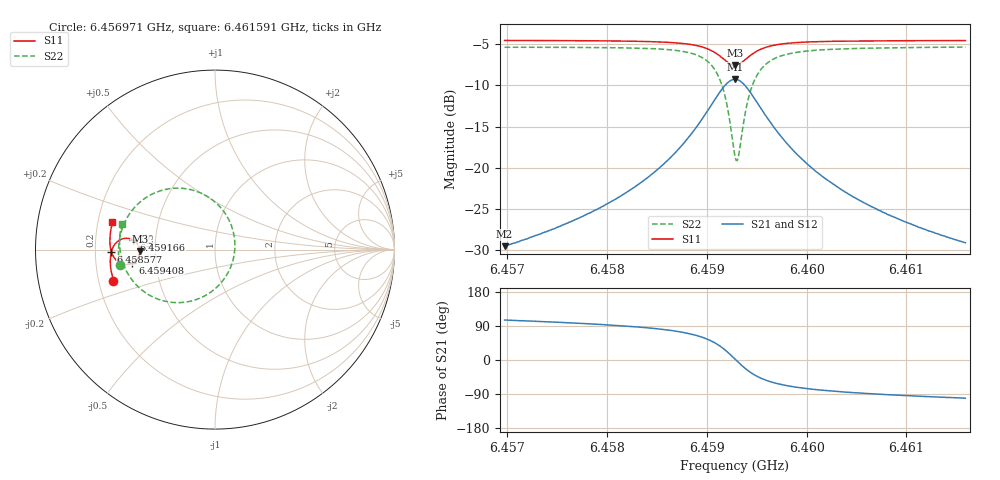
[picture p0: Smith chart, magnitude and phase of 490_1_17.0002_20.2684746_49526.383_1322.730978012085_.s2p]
#  HZ  S  RI  R  50.00
! Rohde & Schwarz Vector Network Analyzer
! Rohde-Schwarz,ZNB20-2Port,1311601062101988,3.16
! Created: UTC 3/20/2024, 11:14:02 PM
! freq[Hz]  re:S11  im:S11  re:S21  im:S21  re:S12  im:S12  re:S22  im:S22
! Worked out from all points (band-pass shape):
!   401 points, 6.456971 GHz to 6.461591 GHz, reference 50 ohm
!   highest |S21| = -9.26 dB at 6.459281 GHz (marker M1); lowest = -29.5 dB at 6.456971 GHz (marker M2)
!   |S21| within 3 dB of the highest: 6.45905 GHz to 6.459512 GHz (461.7 kHz wide, 0.00715 % of centre)
!   lowest |S11| = -7.6 dB at 6.459281 GHz (marker M3), VSWR 2.44, Z = 20.5 - j0.496 ohm
!   |S11| at or under -10 dB: nowhere
!   |S22| runs from -19.1 to -5.4 dB; largest |S21 - S12| = 0.014
!   S11 on the Smith chart (normalised r, x): 6.456971 GHz: 0.26, -0.14; 6.458577 GHz: 0.27, -0.01; 6.459166 GHz: 0.37, +0.05; 6.459408 GHz: 0.37, -0.07; 6.461591 GHz: 0.26, +0.12
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6.4569712e9  -0.5665 -0.1726  -0.00884 0.0322  -0.00724 0.0323  -0.5316 -0.0853
6.457745e9  -0.5807 -0.1051  -0.00562 0.0501  -0.00308 0.0495  -0.5372 0.00479
6.4581724e9  -0.5837 -0.0623  0.000266 0.0696  0.00357 0.0682  -0.5292 0.0722
6.4585188e9  -0.5799 -0.021  0.0141 0.0984  0.0181 0.0955  -0.5041 0.15
6.4585766e9  -0.578 -0.0131  0.0184 0.1053  0.0225 0.1021  -0.4959 0.1665
6.4587845e9  -0.5651 0.019  0.0457 0.1375  0.0498 0.1326  -0.4445 0.2391
6.4589346e9  -0.5426 0.0453  0.091 0.1679  0.094 0.1612  -0.3615 0.3034
6.4590732e9  -0.499 0.0629  0.1775 0.1844  0.1785 0.1771  -0.203 0.3424
6.4591656e9  -0.4546 0.0527  0.2671 0.1536  0.2674 0.1476  -0.0369 0.2926
6.4592118e9  -0.4335 0.034  0.3108 0.1108  0.312 0.1056  0.0459 0.2166
6.4592811e9  -0.4187 -0.00999  0.3439 0.0143  0.3477 0.00738  0.1108 0.0375
6.4592926e9  -0.4191 -0.0179  0.3438 -0.00335  0.3477 -0.011  0.1106 0.00377
6.4593157e9  -0.4227 -0.0335  0.3382 -0.038  0.3422 -0.0471  0.0997 -0.0619
6.4593619e9  -0.4383 -0.0595  0.3098 -0.0978  0.3119 -0.1096  0.0421 -0.1748
6.4594081e9  -0.4601 -0.0757  0.2677 -0.1387  0.2671 -0.1519  -0.0426 -0.2495
6.4595005e9  -0.5034 -0.0824  0.1834 -0.1698  0.1773 -0.1813  -0.211 -0.2955
6.4596506e9  -0.5471 -0.0618  0.0958 -0.1561  0.0874 -0.1621  -0.3781 -0.2462
6.4598123e9  -0.5684 -0.0342  0.0513 -0.1282  0.0437 -0.131  -0.4581 -0.1744
6.4600549e9  -0.5811 0.00141  0.0222 -0.0968  0.0163 -0.0973  -0.5062 -0.0921
6.4604013e9  -0.5855 0.0425  0.00632 -0.07  0.00217 -0.0696  -0.5275 -0.0131
6.4608287e9  -0.5836 0.0853  -0.00152 -0.0516  -0.00428 -0.0507  -0.5315 0.055
6.4615909e9  -0.5712 0.1528  -0.00659 -0.0345  -0.00825 -0.0335  -0.52 0.1449
